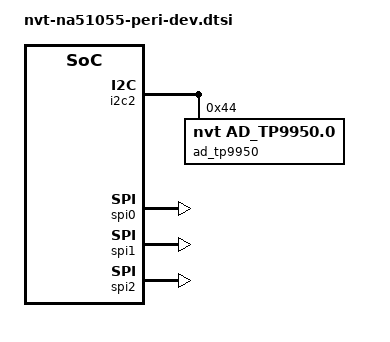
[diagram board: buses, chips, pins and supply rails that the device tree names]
/*
 * Novatek Ltd. NA51055 BSP part of dts
 *
 * Cortex-A9
 *
 */


#include <dt-bindings/gpio/nvt-gpio.h>

&i2c0 {
	#address-cells = <1>;
	#size-cells = <0>;

/*	dummy_i2c_dev: dummy_i2c@1a {
		compatible = "nvt,dummy_i2c_dev";
		reg = <0x1a>;
	};
*/
};

&i2c1 {
	#address-cells = <1>;
	#size-cells = <0>;
};

&i2c2 {
	#address-cells = <1>;
	#size-cells = <0>;
  
  ad_tp9950@0 {
		compatible = "nvt,ad_tp9950.0";
		reg = <0x44>;					//7-bit slave register
		power_cfg {
			mclk_sel = "MCLK3";				// ex : "MCLK" or "MCLK2"
			io_ctl0 = <S_GPIO(5) 1 10>;	//io control description @0~19(max) = <io_pin, level(high(1) or low(0), hold time(us)>
			io_ctl1 = <C_GPIO(4) 1 10>;	//io control description @0~19(max) = <io_pin, level(high(1) or low(0), hold time(us)>
			io_ctl2 = <P_GPIO(11) 0 10>;	//io control description @0~19(max) = <io_pin, level(high(1) or low(0), hold time(us)>
			io_ctl3 = <P_GPIO(11) 1 10>;	//io control description @0~19(max) = <io_pin, level(high(1) or low(0), hold time(us)>
		};

		outport@0 {
			inport = <0>;
			signal = <0>;			// 0: parallel, 1:mipi
		}; 
	};
};

&spi0 {
	status = "okay";
	#address-cells = <1>;
	#size-cells = <0>;

/*	dummy_spi_dev: dummy_spi_dev@0 {
		compatible = "dummy_spi_dev.0";
		reg = <0>; // Chip select 0
		spi-max-frequency = <1000000>;
		spi-cpol;
        };
*/
};

&spi1 {
	status = "okay";
};

&spi2 {
	status = "okay";
};
